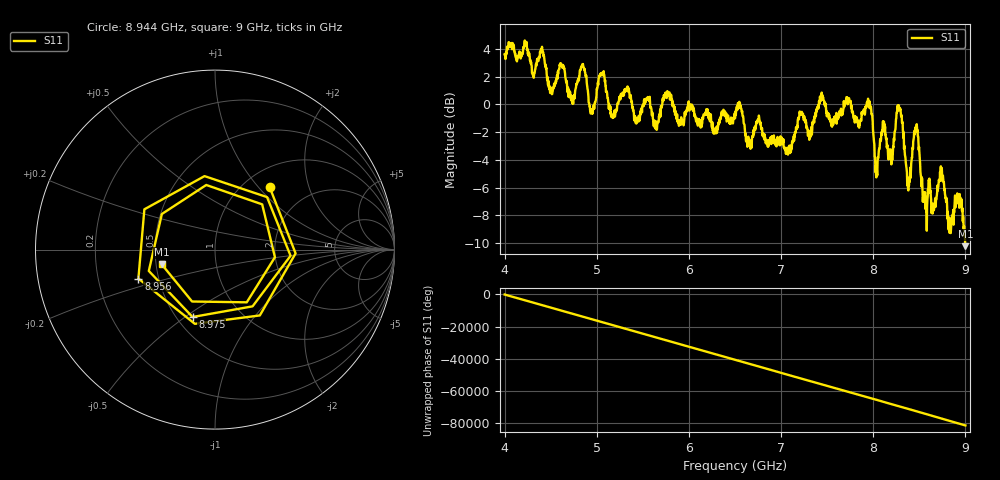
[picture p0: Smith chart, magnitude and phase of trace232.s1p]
! Created with skrf 1.8.0 (http://scikit-rf.org).
# Hz S RI R 50.0
!freq ReS11 ImS11
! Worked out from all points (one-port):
!   1601 points, 4 GHz to 9 GHz, reference 50 ohm
!   lowest |S11| = -10.2 dB at 9 GHz (marker M1), VSWR 1.89, Z = 26.8 - j4.81 ohm
!   |S11| at or under -10 dB: 8.996985 GHz to end of sweep
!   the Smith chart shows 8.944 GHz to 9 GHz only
!   S11 on the Smith chart (normalised r, x): 8.944 GHz: 1.30, +1.15; 8.956 GHz: 0.38, -0.16; 8.975 GHz: 0.60, -0.53; 9 GHz: 0.54, -0.10
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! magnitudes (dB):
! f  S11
! 4 GHz  3.6
! 4.406 GHz  4.2
! 4.506 GHz  0.9
! 4.625 GHz  2.7
! 4.738 GHz  0.2
! 4.853 GHz  2.8
! 4.947 GHz  -0.4
! 5.05 GHz  2.1
! 5.162 GHz  -0.8
! 5.25 GHz  0.5
! 5.875 GHz  -1.0
! 6.5 GHz  -1.0
! 7.125 GHz  -2.6
! 7.438 GHz  0.7
! 7.75 GHz  0.2
! 7.956 GHz  0.0
! 8.041 GHz  -5.0
! 8.191 GHz  -3.9
! 8.284 GHz  -0.3
! 8.375 GHz  -5.6
! 8.462 GHz  -1.8
! 8.562 GHz  -6.3
! 8.738 GHz  -5.0
! 8.828 GHz  -9.3
! 8.944 GHz  -6.7
! 8.956 GHz  -6.8
! 8.975 GHz  -8.1
! 9 GHz  -10.2
